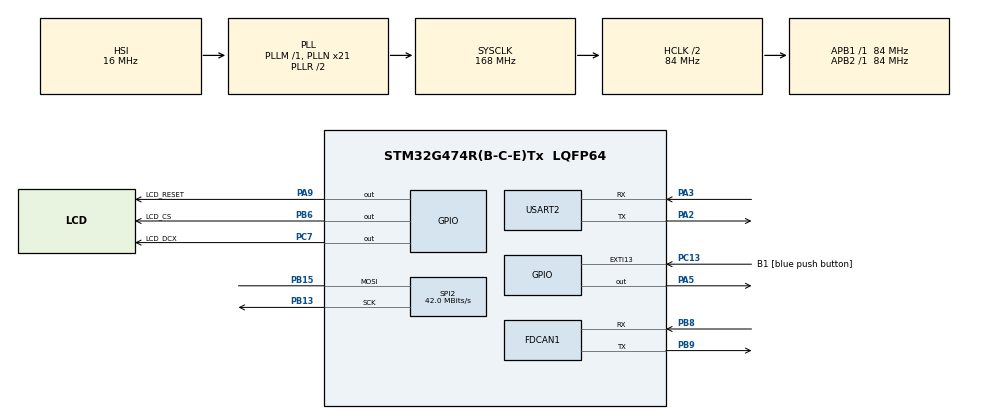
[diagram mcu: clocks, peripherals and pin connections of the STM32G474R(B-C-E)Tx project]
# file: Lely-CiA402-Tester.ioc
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Dma.Request0=USART2_RX
Dma.USART2_RX.0.Direction=DMA_PERIPH_TO_MEMORY
Dma.USART2_RX.0.EventEnable=DISABLE
Dma.USART2_RX.0.Instance=DMA1_Channel1
Dma.USART2_RX.0.MemDataAlignment=DMA_MDATAALIGN_BYTE
Dma.USART2_RX.0.MemInc=DMA_MINC_ENABLE
Dma.USART2_RX.0.Mode=DMA_CIRCULAR
Dma.USART2_RX.0.PeriphDataAlignment=DMA_PDATAALIGN_BYTE
Dma.USART2_RX.0.PeriphInc=DMA_PINC_DISABLE
Dma.USART2_RX.0.Polarity=HAL_DMAMUX_REQ_GEN_RISING
Dma.USART2_RX.0.Priority=DMA_PRIORITY_LOW
Dma.USART2_RX.0.RequestNumber=1
Dma.USART2_RX.0.SignalID=NONE
Dma.USART2_RX.0.SyncEnable=DISABLE
Dma.USART2_RX.0.SyncPolarity=HAL_DMAMUX_SYNC_NO_EVENT
Dma.USART2_RX.0.SyncRequestNumber=1
Dma.USART2_RX.0.SyncSignalID=NONE
FDCAN1.CalculateBaudRateNominal=125000
FDCAN1.CalculateTimeBitNominal=8000
FDCAN1.CalculateTimeQuantumNominal=1000.0
FDCAN1.Mode=FDCAN_MODE_EXTERNAL_LOOPBACK
FDCAN1.NominalPrescaler=84
FDCAN1.NominalTimeSeg1=4
FDCAN1.NominalTimeSeg2=3
Mcu.Family=STM32G4
Mcu.Name=STM32G474R(B-C-E)Tx
Mcu.Package=LQFP64
NUCLEO-G474RE.LD2=false
NVIC.DMA1_Channel1_IRQn=true\:0\:0\:false\:false\:true\:false\:true\:true
NVIC.EXTI15_10_IRQn=true\:0\:0\:false\:false\:true\:true\:true\:true
NVIC.FDCAN1_IT0_IRQn=true\:0\:0\:false\:false\:true\:true\:true\:true
NVIC.FDCAN1_IT1_IRQn=true\:0\:0\:false\:false\:true\:true\:true\:true
NVIC.PriorityGroup=NVIC_PRIORITYGROUP_4
NVIC.TIM1_TRG_COM_TIM17_IRQn=true\:0\:0\:false\:false\:true\:true\:true\:true
NVIC.TIM1_UP_TIM16_IRQn=true\:15\:0\:false\:false\:true\:false\:true\:true
NVIC.TIM2_IRQn=true\:0\:0\:false\:false\:true\:true\:true\:true
NVIC.TimeBase=TIM1_UP_TIM16_IRQn
NVIC.TimeBaseIP=TIM16
NVIC.USART2_IRQn=true\:0\:0\:false\:false\:true\:true\:true\:true
PA13.GPIO_Label=T_SWDIO
PA13.Signal=SYS_JTMS-SWDIO
PA14.GPIO_Label=T_SWCLK
PA14.Signal=SYS_JTCK-SWCLK
PA2.Mode=Asynchronous
PA2.Signal=USART2_TX
PA3.Mode=Asynchronous
PA3.Signal=USART2_RX
PA5.Signal=GPIO_Output
PA9.GPIO_Label=LCD_RESET
PA9.GPIO_ModeDefaultOutputPP=GPIO_MODE_OUTPUT_OD
PA9.GPIO_PuPd=GPIO_PULLUP
PA9.GPIO_Speed=GPIO_SPEED_FREQ_VERY_HIGH
PA9.PinState=GPIO_PIN_SET
PA9.Signal=GPIO_Output
PB13.Mode=Simplex_Bidirectional_Master
PB13.Signal=SPI2_SCK
PB15.Mode=Simplex_Bidirectional_Master
PB15.Signal=SPI2_MOSI
PB3.GPIO_Label=T_SWO
PB3.Signal=SYS_JTDO-SWO
PB6.GPIO_Label=LCD_CS
PB6.Signal=GPIO_Output
PB8-BOOT0.Mode=FDCAN_Activate
PB8-BOOT0.Signal=FDCAN1_RX
PB9.Mode=FDCAN_Activate
PB9.Signal=FDCAN1_TX
PC13.GPIO_Label=B1 [blue push button]
PC13.Signal=GPXTI13
PC14-OSC32_IN.GPIO_Label=RCC_OSC32_IN
PC14-OSC32_IN.Signal=RCC_OSC32_IN
PC15-OSC32_OUT.GPIO_Label=RCC_OSC32_OUT
PC15-OSC32_OUT.Signal=RCC_OSC32_OUT
PC7.GPIO_Label=LCD_DCX
PC7.GPIO_Speed=GPIO_SPEED_FREQ_VERY_HIGH
PC7.PinState=GPIO_PIN_SET
PC7.Signal=GPIO_Output
PF0-OSC_IN.GPIO_Label=RCC_OSC_IN
PF0-OSC_IN.Signal=RCC_OSC_IN
PF1-OSC_OUT.GPIO_Label=RCC_OSC_OUT
PF1-OSC_OUT.Signal=RCC_OSC_OUT
ProjectManager.HeapSize=0x200
ProjectManager.StackSize=0x400
ProjectManager.TargetToolchain=STM32CubeIDE
RCC.ADC12Freq_Value=168000000
RCC.ADC345Freq_Value=168000000
RCC.AHBCLKDivider=RCC_SYSCLK_DIV2
RCC.AHBFreq_Value=84000000
RCC.APB1Freq_Value=84000000
RCC.APB1TimFreq_Value=84000000
RCC.APB2Freq_Value=84000000
RCC.APB2TimFreq_Value=84000000
RCC.CortexFreq_Value=84000000
RCC.EXTERNAL_CLOCK_VALUE=12288000
RCC.HCLKFreq_Value=84000000
RCC.HSE_VALUE=24000000
RCC.HSI48_VALUE=48000000
RCC.HSI_VALUE=16000000
RCC.LSE_VALUE=32768
RCC.PLLN=21
RCC.SYSCLKFreq_VALUE=168000000
RCC.SYSCLKSource=RCC_SYSCLKSOURCE_PLLCLK
RCC.USBFreq_Value=168000000
RCC.VCOOutputFreq_Value=336000000
SPI2.CalculateBaudRate=42.0 MBits/s
SPI2.Direction=SPI_DIRECTION_1LINE
SPI2.Mode=SPI_MODE_MASTER
SPI2.VirtualType=VM_MASTER
TIM17.PeriodNoDither=1000
TIM17.Prescaler=84
TIM2.Channel-Output\ Compare1\ No\ Output=TIM_CHANNEL_1
TIM2.OCMode_1=TIM_OCMODE_ACTIVE
TIM2.PeriodNoDither=1000
TIM2.Prescaler=84
TIM2.PulseNoDither_1=500000
USART2.VirtualMode-Asynchronous=VM_ASYNC
VP_NUCLEO-G474RE_VS_BSP_COMMON.Mode=COMMON
VP_RTC_VS_RTC_Activate.Mode=RTC_Enabled
VP_RTC_VS_RTC_Calendar.Mode=RTC_Calendar
VP_SYS_VS_DBSignals.Mode=DisableDeadBatterySignals
VP_SYS_VS_tim16.Mode=TIM16
VP_TIM17_VS_ClockSourceINT.Mode=Enable_Timer
VP_TIM2_VS_ClockSourceINT.Mode=Internal
VP_TIM2_VS_no_output1.Mode=Output Compare1 No Output
board=NUCLEO-G474RE

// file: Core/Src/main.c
/* USER CODE BEGIN Header */
/**
  ******************************************************************************
  * @file           : main.c
  * @brief          : Main program body
  ******************************************************************************
  * @attention
  *
  * Copyright (c) 2025 STMicroelectronics.
  * All rights reserved.
  *
  * This software is licensed under terms that can be found in the LICENSE file
  * in the root directory of this software component.
  * If no LICENSE file comes with this software, it is provided AS-IS.
  *
  ******************************************************************************
  */
/* USER CODE END Header */
#include "main.h"

/* USER CODE BEGIN Includes */
#include "../screen/screen.h"
// #define LELY_NO_THREADS 1
#include <stdlib.h>
#include <lely/co/nmt.h>
#include <lely/co/sdev.h>
#include <lely/co/sdo.h>
#include <lely/co/time.h>
#include <lely/co/tpdo.h>

#include "co/co.h"
#include "../bsp/can.h"
#include "digital_inputs.h"
#include "statemachine.h"
/* USER CODE END Includes */

FDCAN_HandleTypeDef hfdcan1;

RTC_HandleTypeDef hrtc;

SPI_HandleTypeDef hspi2;

TIM_HandleTypeDef htim2;
TIM_HandleTypeDef htim17;

UART_HandleTypeDef huart2;
DMA_HandleTypeDef hdma_usart2_rx;

/* USER CODE BEGIN PV */
//osThreadId LvglTaskHandle;
//lv_display_t *lcd_disp;
//volatile int lcd_bus_busy = 0;
/* USER CODE END PV */

void SystemClock_Config(void);
static void MX_GPIO_Init(void);
static void MX_DMA_Init(void);
static void MX_FDCAN1_Init(void);
static void MX_TIM17_Init(void);
static void MX_USART2_UART_Init(void);
static void MX_RTC_Init(void);
static void MX_TIM2_Init(void);
static void MX_SPI2_Init(void);
/* USER CODE BEGIN PFP */
static int on_can_send(const struct can_msg *msg, void *data);
static void on_nmt_cs(co_nmt_t *nmt, co_unsigned8_t cs, void *data);
static void on_time(co_time_t *time, const struct timespec *tp, void *data);
static co_unsigned32_t on_dn_2000_00(co_sub_t *sub, struct co_sdo_req *req,
		void *data);
static co_unsigned32_t on_up_2001_00(const co_sub_t *sub,
		struct co_sdo_req *req, void *data);

// dn : master to slave
// up : slave to master

// Generated by `dcf2c --no-strings lpc17xx.dcf lpc17xx_sdev -o src/sdev.c`
extern const struct co_sdev lpc17xx_sdev;

uint32_t co_hal_read_digital_inputs(){
	  digital_inputs io;
	  io.positive_limit_switch=HAL_GPIO_ReadPin(B1_GPIO_Port, B1_Pin);
	  uint32_t entry_60FD_00=read_inputs(io);
	  return entry_60FD_00;
}
/* USER CODE END PFP */

/* USER CODE BEGIN 0 */
int ticks = 0,ticks_ms=0,ticks_second=0,ticks_minute=0,ticks_hour=0;

struct hw_time clock_get_hw_time()
{
struct hw_time tm;
tm.ticks_hour = ticks_hour;
tm.ticks_minute =ticks_minute;
tm.ticks_second = ticks_second;
tm.ticks_ms = ticks_ms;
tm.ticks_ns = ticks_ms * 1000* 1000;
return tm;
}
struct timespec now = { 0, 0 };
co_dev_t *dev;
co_nmt_t *nmt;
can_net_t *net;

/* USER CODE END 0 */

int main(void)
{

  /* MCU Configuration--------------------------------------------------------*/

  /* Reset of all peripherals, Initializes the Flash interface and the Systick. */
  HAL_Init();

  /* Configure the system clock */
  SystemClock_Config();

  /* Initialize all configured peripherals */
  MX_GPIO_Init();
  MX_DMA_Init();
  MX_FDCAN1_Init();
  MX_TIM17_Init();
  MX_USART2_UART_Init();
  MX_RTC_Init();
  MX_TIM2_Init();
  MX_SPI2_Init();
  /* USER CODE BEGIN 2 */
  	can_init(125);;
  	trace("Welcome to Lely-CiA-402-Tester!");
	 /* Start RTC, otherwise CANOpen won't generate Data */
	// Initialize the CAN network interface.
	net = can_net_create();
	assert(net);
	can_net_set_send_func(net, &on_can_send, NULL);

	// Initialize the CAN network clock. We use the monotonic clock, since
	// its reference will not be changed by clock_settime().
	clock_gettime(1, &now);
	can_net_set_time(net, &now);

	// Create a dynamic object dictionary from the static object dictionary.
	dev = co_dev_create_from_sdev(&lpc17xx_sdev);
	assert(dev);

	// Create the CANopen NMT service.
	nmt = co_nmt_create(net, dev);
	assert(nmt);

	// Start the NMT service by resetting the node.
	co_nmt_cs_ind(nmt, CO_NMT_CS_RESET_NODE);

	// Set the NMT indication function _after_ the initial reset; otherwise
	// we create a reset loop.
	co_nmt_set_cs_ind(nmt, &on_nmt_cs, NULL);

	// Set the TIME indication function. This can only be done when the TIME
	// service is active.
	co_time_set_ind(co_nmt_get_time(nmt), &on_time, NULL);

	// Set the download (SDO write) indication function for sub-object
	// 2000:01.
	co_sub_set_dn_ind(co_dev_find_sub(dev, 0x2000, 0x00), &on_dn_2000_00,NULL);

	// Set the upload (SDO read) indication function for sub-object 2001:01.
	co_sub_set_up_ind(co_dev_find_sub(dev,0x2001,0x00), &on_up_2001_00,NULL);
//	co_sub_set_up_ind(co_dev_find_sub(dev,0x60FD,0x00),&on_up_60FD_00,NULL);
/*
	screen_init();
	for(int i=0;i<20;i++)
	{
	screen_csp(10,i);
	HAL_Delay(10);
	}
*/
//	co_tpdo_start(co_tpdo_create(net, dev, 1));
	Start_STDIN();
//	HAL_TIM_Base_Start_IT(&htim2);
//	HAL_TIM_OC_Start(&htim2, 1);
	trace("Press PB1 to continue to start CanOpen loop");
	trace("Sending dummy data [7F 12 34");
	while(!HAL_GPIO_ReadPin(B1_GPIO_Port, B1_Pin))
	{
		struct can_msg msg;
		msg.len=2;
		msg.data[1]=0x12;
		msg.data[2]=0x34;
		can_send(&msg, 3);
		HAL_Delay(500);
		// Disable Interrupt an poll can rx buffer
	}

//	can_send(&msg, 1);
  /* USER CODE END 2 */

  /* Infinite loop */
  /* USER CODE BEGIN WHILE */
  while (1)
  {
//BSP_LED_Toggle(LED_GREEN);
//HAL_Delay(500);
	  co_unsigned32_t val = co_hal_read_digital_inputs();
//		co_sub_set_val_u32(co_dev_find_sub(dev, 0x60FD, 0),&val);
		// Controlword
		co_obj_t * obj = co_dev_find_obj(dev, 0x6040);
		uint32_t ctrl_word=co_sub_get_val_u32(co_dev_find_sub(dev,0x6040,0));
		// Statusword
		run_transition(ctrl_word);
		uint16_t statusword=get_statusword_lowbyte(get_state());
		obj = co_dev_find_obj(dev, 0x6041);
		co_obj_set_val(obj, 0x00,&statusword, sizeof(val));
		co_nmt_cs_ind(nmt, CO_NMT_ST_START); // Operational
	  /*
	  if(HAL_GPIO_ReadPin(B1_GPIO_Port, B1_Pin)== GPIO_PIN_SET)
	  {
		  select_screen();
	  }
*/
	  //co_sub_dn(inputs, co_hal_read_digital_inputs());
		clock_gettime(1, &now);

	    // Aktuelle Zeit holen
	    localtime(&now.tv_sec);

	    RTC_DateTypeDef gDate;
	    RTC_TimeTypeDef gTime;
	    HAL_RTC_GetTime(&hrtc, &gTime, RTC_FORMAT_BIN);
	    HAL_RTC_GetDate(&hrtc, &gDate, RTC_FORMAT_BIN);
	    //trace("%02d:%02d:%02d",gTime.Hours, gTime.Minutes, gTime.Seconds);

		can_net_set_time(net, &now);

		// Process any received CAN frames.
		struct can_msg msg;
		int n_frames = can_recv(&msg, 1);
		if(n_frames !=0)
		{
				can_net_recv(net, &msg);
		}
//		HAL_GPIO_TogglePin(GPIOA, GPIO_PIN_11);
//		HAL_Delay(250);
		// TODO: Update object dictionary.

    /* USER CODE END WHILE */

    /* USER CODE BEGIN 3 */
  }
	co_nmt_destroy(nmt);
	co_dev_destroy(dev);
	can_net_destroy(net);
  /* USER CODE END 3 */
}

void SystemClock_Config(void)
{
  RCC_OscInitTypeDef RCC_OscInitStruct = {0};
  RCC_ClkInitTypeDef RCC_ClkInitStruct = {0};

  /** Configure the main internal regulator output voltage
  */
  HAL_PWREx_ControlVoltageScaling(PWR_REGULATOR_VOLTAGE_SCALE1);

  /** Initializes the RCC Oscillators according to the specified parameters
  * in the RCC_OscInitTypeDef structure.
  */
  RCC_OscInitStruct.OscillatorType = RCC_OSCILLATORTYPE_HSI|RCC_OSCILLATORTYPE_LSI;
  RCC_OscInitStruct.HSIState = RCC_HSI_ON;
  RCC_OscInitStruct.HSICalibrationValue = RCC_HSICALIBRATION_DEFAULT;
  RCC_OscInitStruct.LSIState = RCC_LSI_ON;
  RCC_OscInitStruct.PLL.PLLState = RCC_PLL_ON;
  RCC_OscInitStruct.PLL.PLLSource = RCC_PLLSOURCE_HSI;
  RCC_OscInitStruct.PLL.PLLM = RCC_PLLM_DIV1;
  RCC_OscInitStruct.PLL.PLLN = 21;
  RCC_OscInitStruct.PLL.PLLP = RCC_PLLP_DIV2;
  RCC_OscInitStruct.PLL.PLLQ = RCC_PLLQ_DIV2;
  RCC_OscInitStruct.PLL.PLLR = RCC_PLLR_DIV2;
  if (HAL_RCC_OscConfig(&RCC_OscInitStruct) != HAL_OK)
  {
    Error_Handler();
  }

  /** Initializes the CPU, AHB and APB buses clocks
  */
  RCC_ClkInitStruct.ClockType = RCC_CLOCKTYPE_HCLK|RCC_CLOCKTYPE_SYSCLK
                              |RCC_CLOCKTYPE_PCLK1|RCC_CLOCKTYPE_PCLK2;
  RCC_ClkInitStruct.SYSCLKSource = RCC_SYSCLKSOURCE_PLLCLK;
  RCC_ClkInitStruct.AHBCLKDivider = RCC_SYSCLK_DIV2;
  RCC_ClkInitStruct.APB1CLKDivider = RCC_HCLK_DIV1;
  RCC_ClkInitStruct.APB2CLKDivider = RCC_HCLK_DIV1;

  if (HAL_RCC_ClockConfig(&RCC_ClkInitStruct, FLASH_LATENCY_2) != HAL_OK)
  {
    Error_Handler();
  }
}

static void MX_FDCAN1_Init(void)
{

  hfdcan1.Instance = FDCAN1;
  hfdcan1.Init.ClockDivider = FDCAN_CLOCK_DIV1;
  hfdcan1.Init.FrameFormat = FDCAN_FRAME_CLASSIC;
  hfdcan1.Init.Mode = FDCAN_FRAME_CLASSIC;
  hfdcan1.Init.AutoRetransmission = DISABLE;
  hfdcan1.Init.TransmitPause = DISABLE;
  hfdcan1.Init.ProtocolException = DISABLE;
  hfdcan1.Init.NominalPrescaler = 84;
  hfdcan1.Init.NominalSyncJumpWidth = 1;
  hfdcan1.Init.NominalTimeSeg1 = 4;
  hfdcan1.Init.NominalTimeSeg2 = 3;
  hfdcan1.Init.DataPrescaler = 1;
  hfdcan1.Init.DataSyncJumpWidth = 1;
  hfdcan1.Init.DataTimeSeg1 = 1;
  hfdcan1.Init.DataTimeSeg2 = 1;
  hfdcan1.Init.StdFiltersNbr = 0;
  hfdcan1.Init.ExtFiltersNbr = 0;
  hfdcan1.Init.TxFifoQueueMode = FDCAN_TX_FIFO_OPERATION;
  if (HAL_FDCAN_Init(&hfdcan1) != HAL_OK)
  {
    Error_Handler();
  }

}

static void MX_RTC_Init(void)
{

  RTC_TimeTypeDef sTime = {0};
  RTC_DateTypeDef sDate = {0};

  /** Initialize RTC Only
  */
  hrtc.Instance = RTC;
  hrtc.Init.HourFormat = RTC_HOURFORMAT_24;
  hrtc.Init.AsynchPrediv = 127;
  hrtc.Init.SynchPrediv = 255;
  hrtc.Init.OutPut = RTC_OUTPUT_DISABLE;
  hrtc.Init.OutPutRemap = RTC_OUTPUT_REMAP_NONE;
  hrtc.Init.OutPutPolarity = RTC_OUTPUT_POLARITY_HIGH;
  hrtc.Init.OutPutType = RTC_OUTPUT_TYPE_OPENDRAIN;
  hrtc.Init.OutPutPullUp = RTC_OUTPUT_PULLUP_NONE;
  if (HAL_RTC_Init(&hrtc) != HAL_OK)
  {
    Error_Handler();
  }

  /** Initialize RTC and set the Time and Date
  */
  sTime.Hours = 0x0;
  sTime.Minutes = 0x0;
  sTime.Seconds = 0x0;
  sTime.SubSeconds = 0x0;
  sTime.DayLightSaving = RTC_DAYLIGHTSAVING_NONE;
  sTime.StoreOperation = RTC_STOREOPERATION_RESET;
  if (HAL_RTC_SetTime(&hrtc, &sTime, RTC_FORMAT_BCD) != HAL_OK)
  {
    Error_Handler();
  }
  sDate.WeekDay = RTC_WEEKDAY_MONDAY;
  sDate.Month = RTC_MONTH_JANUARY;
  sDate.Date = 0x1;
  sDate.Year = 0x0;

  if (HAL_RTC_SetDate(&hrtc, &sDate, RTC_FORMAT_BCD) != HAL_OK)
  {
    Error_Handler();
  }

}

static void MX_SPI2_Init(void)
{

  /* SPI2 parameter configuration*/
  hspi2.Instance = SPI2;
  hspi2.Init.Mode = SPI_MODE_MASTER;
  hspi2.Init.Direction = SPI_DIRECTION_1LINE;
  hspi2.Init.DataSize = SPI_DATASIZE_4BIT;
  hspi2.Init.CLKPolarity = SPI_POLARITY_LOW;
  hspi2.Init.CLKPhase = SPI_PHASE_1EDGE;
  hspi2.Init.NSS = SPI_NSS_SOFT;
  hspi2.Init.BaudRatePrescaler = SPI_BAUDRATEPRESCALER_2;
  hspi2.Init.FirstBit = SPI_FIRSTBIT_MSB;
  hspi2.Init.TIMode = SPI_TIMODE_DISABLE;
  hspi2.Init.CRCCalculation = SPI_CRCCALCULATION_DISABLE;
  hspi2.Init.CRCPolynomial = 7;
  hspi2.Init.CRCLength = SPI_CRC_LENGTH_DATASIZE;
  hspi2.Init.NSSPMode = SPI_NSS_PULSE_ENABLE;
  if (HAL_SPI_Init(&hspi2) != HAL_OK)
  {
    Error_Handler();
  }

}

static void MX_TIM2_Init(void)
{

  TIM_ClockConfigTypeDef sClockSourceConfig = {0};
  TIM_MasterConfigTypeDef sMasterConfig = {0};
  TIM_OC_InitTypeDef sConfigOC = {0};

  htim2.Instance = TIM2;
  htim2.Init.Prescaler = 84;
  htim2.Init.CounterMode = TIM_COUNTERMODE_UP;
  htim2.Init.Period = 1000;
  htim2.Init.ClockDivision = TIM_CLOCKDIVISION_DIV1;
  htim2.Init.AutoReloadPreload = TIM_AUTORELOAD_PRELOAD_DISABLE;
  if (HAL_TIM_Base_Init(&htim2) != HAL_OK)
  {
    Error_Handler();
  }
  sClockSourceConfig.ClockSource = TIM_CLOCKSOURCE_INTERNAL;
  if (HAL_TIM_ConfigClockSource(&htim2, &sClockSourceConfig) != HAL_OK)
  {
    Error_Handler();
  }
  if (HAL_TIM_OC_Init(&htim2) != HAL_OK)
  {
    Error_Handler();
  }
  sMasterConfig.MasterOutputTrigger = TIM_TRGO_RESET;
  sMasterConfig.MasterSlaveMode = TIM_MASTERSLAVEMODE_DISABLE;
  if (HAL_TIMEx_MasterConfigSynchronization(&htim2, &sMasterConfig) != HAL_OK)
  {
    Error_Handler();
  }
  sConfigOC.OCMode = TIM_OCMODE_ACTIVE;
  sConfigOC.Pulse = 500000;
  sConfigOC.OCPolarity = TIM_OCPOLARITY_HIGH;
  sConfigOC.OCFastMode = TIM_OCFAST_DISABLE;
  if (HAL_TIM_OC_ConfigChannel(&htim2, &sConfigOC, TIM_CHANNEL_1) != HAL_OK)
  {
    Error_Handler();
  }

}

static void MX_TIM17_Init(void)
{

  htim17.Instance = TIM17;
  htim17.Init.Prescaler = 84;
  htim17.Init.CounterMode = TIM_COUNTERMODE_UP;
  htim17.Init.Period = 1000;
  htim17.Init.ClockDivision = TIM_CLOCKDIVISION_DIV1;
  htim17.Init.RepetitionCounter = 0;
  htim17.Init.AutoReloadPreload = TIM_AUTORELOAD_PRELOAD_DISABLE;
  if (HAL_TIM_Base_Init(&htim17) != HAL_OK)
  {
    Error_Handler();
  }

}

static void MX_USART2_UART_Init(void)
{

  huart2.Instance = USART2;
  huart2.Init.BaudRate = 115200;
  huart2.Init.WordLength = UART_WORDLENGTH_8B;
  huart2.Init.StopBits = UART_STOPBITS_1;
  huart2.Init.Parity = UART_PARITY_NONE;
  huart2.Init.Mode = UART_MODE_TX_RX;
  huart2.Init.HwFlowCtl = UART_HWCONTROL_NONE;
  huart2.Init.OverSampling = UART_OVERSAMPLING_16;
  huart2.Init.OneBitSampling = UART_ONE_BIT_SAMPLE_DISABLE;
  huart2.Init.ClockPrescaler = UART_PRESCALER_DIV1;
  huart2.AdvancedInit.AdvFeatureInit = UART_ADVFEATURE_NO_INIT;
  if (HAL_UART_Init(&huart2) != HAL_OK)
  {
    Error_Handler();
  }
  if (HAL_UARTEx_SetTxFifoThreshold(&huart2, UART_TXFIFO_THRESHOLD_1_8) != HAL_OK)
  {
    Error_Handler();
  }
  if (HAL_UARTEx_SetRxFifoThreshold(&huart2, UART_RXFIFO_THRESHOLD_1_8) != HAL_OK)
  {
    Error_Handler();
  }
  if (HAL_UARTEx_DisableFifoMode(&huart2) != HAL_OK)
  {
    Error_Handler();
  }

}

static void MX_DMA_Init(void)
{

  /* DMA controller clock enable */
  __HAL_RCC_DMAMUX1_CLK_ENABLE();
  __HAL_RCC_DMA1_CLK_ENABLE();

  /* DMA interrupt init */
  /* DMA1_Channel1_IRQn interrupt configuration */
  HAL_NVIC_SetPriority(DMA1_Channel1_IRQn, 0, 0);
  HAL_NVIC_EnableIRQ(DMA1_Channel1_IRQn);

}

static void MX_GPIO_Init(void)
{
  GPIO_InitTypeDef GPIO_InitStruct = {0};

  /* GPIO Ports Clock Enable */
  __HAL_RCC_GPIOC_CLK_ENABLE();
  __HAL_RCC_GPIOF_CLK_ENABLE();
  __HAL_RCC_GPIOA_CLK_ENABLE();
  __HAL_RCC_GPIOB_CLK_ENABLE();

  /*Configure GPIO pin Output Level */
  HAL_GPIO_WritePin(GPIOA, GPIO_PIN_5, GPIO_PIN_RESET);

  /*Configure GPIO pin Output Level */
  HAL_GPIO_WritePin(LCD_DCX_GPIO_Port, LCD_DCX_Pin, GPIO_PIN_SET);

  /*Configure GPIO pin Output Level */
  HAL_GPIO_WritePin(LCD_RESET_GPIO_Port, LCD_RESET_Pin, GPIO_PIN_SET);

  /*Configure GPIO pin Output Level */
  HAL_GPIO_WritePin(LCD_CS_GPIO_Port, LCD_CS_Pin, GPIO_PIN_RESET);

  /*Configure GPIO pin : B1_Pin */
  GPIO_InitStruct.Pin = B1_Pin;
  GPIO_InitStruct.Mode = GPIO_MODE_IT_RISING;
  GPIO_InitStruct.Pull = GPIO_NOPULL;
  HAL_GPIO_Init(B1_GPIO_Port, &GPIO_InitStruct);

  /*Configure GPIO pin : PA5 */
  GPIO_InitStruct.Pin = GPIO_PIN_5;
  GPIO_InitStruct.Mode = GPIO_MODE_OUTPUT_PP;
  GPIO_InitStruct.Pull = GPIO_NOPULL;
  GPIO_InitStruct.Speed = GPIO_SPEED_FREQ_LOW;
  HAL_GPIO_Init(GPIOA, &GPIO_InitStruct);

  /*Configure GPIO pin : LCD_DCX_Pin */
  GPIO_InitStruct.Pin = LCD_DCX_Pin;
  GPIO_InitStruct.Mode = GPIO_MODE_OUTPUT_PP;
  GPIO_InitStruct.Pull = GPIO_NOPULL;
  GPIO_InitStruct.Speed = GPIO_SPEED_FREQ_VERY_HIGH;
  HAL_GPIO_Init(LCD_DCX_GPIO_Port, &GPIO_InitStruct);

  /*Configure GPIO pin : LCD_RESET_Pin */
  GPIO_InitStruct.Pin = LCD_RESET_Pin;
  GPIO_InitStruct.Mode = GPIO_MODE_OUTPUT_OD;
  GPIO_InitStruct.Pull = GPIO_PULLUP;
  GPIO_InitStruct.Speed = GPIO_SPEED_FREQ_VERY_HIGH;
  HAL_GPIO_Init(LCD_RESET_GPIO_Port, &GPIO_InitStruct);

  /*Configure GPIO pin : LCD_CS_Pin */
  GPIO_InitStruct.Pin = LCD_CS_Pin;
  GPIO_InitStruct.Mode = GPIO_MODE_OUTPUT_PP;
  GPIO_InitStruct.Pull = GPIO_NOPULL;
  GPIO_InitStruct.Speed = GPIO_SPEED_FREQ_LOW;
  HAL_GPIO_Init(LCD_CS_GPIO_Port, &GPIO_InitStruct);

  /* EXTI interrupt init*/
  HAL_NVIC_SetPriority(EXTI15_10_IRQn, 0, 0);
  HAL_NVIC_EnableIRQ(EXTI15_10_IRQn);

}

/* USER CODE BEGIN 4 */
/*
HAL_GPIO_EXTI_Callback(uint16_t GPIO_Pin)
{
//	select_screen();
}
*/
static int on_can_send(const struct can_msg *msg, void *data)
{
	(void)data;
	return can_send(msg, 1) == 1 ? 0 : -1;
}

static void
on_nmt_cs(co_nmt_t *nmt, co_unsigned8_t cs, void *data)
{
	(void)data;

	switch (cs) {
	case CO_NMT_CS_START:
		// Reset the TIME indication function, since the service may
		// have been restarted.
		co_time_set_ind(co_nmt_get_time(nmt), &on_time, NULL);
		break;
	case CO_NMT_CS_STOP:
		break;
	case CO_NMT_CS_ENTER_PREOP:
		co_time_set_ind(co_nmt_get_time(nmt), &on_time, NULL);
		break;
	case CO_NMT_CS_RESET_NODE:
		// Initiate a system reset.
		exit(0);
		break;
	case CO_NMT_CS_RESET_COMM:
		break;
	}
}

static void
on_time(co_time_t *time, const struct timespec *tp, void *data)
{
	(void)time;
	(void)data;

	// Update the wall clock, _not_ the monotonic clock used by the CAN
	// network.
	clock_settime(CLOCK_REALTIME, tp);
}

static co_unsigned32_t
on_dn_2000_00(co_sub_t *sub, struct co_sdo_req *req, void *data)
{
	assert(sub);
	assert(co_obj_get_idx(co_sub_get_obj(sub)) == 0x2000);
	assert(co_sub_get_subidx(sub) == 0x00);
	assert(req);
	// The data pointer can be used to pass user-specified data to the
	// callback function. It is the last argument passed to
	// co_sub_set_dn_ind().
	(void)data;

	co_unsigned32_t ac = 0;

	co_unsigned16_t type = co_sub_get_type(sub);//dd
	assert(type == CO_DEFTYPE_UNSIGNED32);

	// This callback is invoked for every SDO CAN frame. Unless the value is
	// too large to be held in memory (for example, during a firmware
	// update), it is more convenient to wait until the entire value is
	// received. This is what the following call is designed to do. It
	// returns -1 with ac == 0 if more CAN frames are pending.
	union co_val val;
	if (co_sdo_req_dn_val(req, type, &val, &ac) == -1)
		return ac;

	trace("Received SDO 0x2000:0 : val.u32=[%lu]",val.u32);
	// Write the temporary value to the local object dictionary.
	co_sub_dn(sub, &val);

	run_transition(val.u32);
	trace("Drive state = %d, Statusword = %X",get_state(),get_statusword_lowbyte(get_state()));
	// Finalize the temporary value. This is only necessary to cleanup array
	// values, but it is a good practice to always include it.
	co_val_fini(type, &val);
	return ac;
}
/*
static co_unsigned32_t
on_up_2001_00(const co_sub_t *sub, struct co_sdo_req *req, void *data)
{
	assert(co_obj_get_idx(co_sub_get_obj(sub)) == 0x2001);
	assert(co_sub_get_subidx(sub) == 0x00);
	assert(req);
	(void)data;

	co_unsigned16_t type = co_sub_get_type(sub);
	assert(type == CO_DEFTYPE_UNSIGNED32);

	// TODO: Obtain value from somewhere.
	co_unsigned32_t val = 42;

	// Store the value in the send buffer.
	co_unsigned32_t ac = 0;
	co_sdo_req_up_val(req, type, &val, &ac);
	return ac;
}
*/
static co_unsigned32_t
on_up_2001_00(const co_sub_t *sub, struct co_sdo_req *req, void *data)
{
	assert(req);
	(void)data;

	co_unsigned16_t type = co_sub_get_type(sub);

	// TODO: Obtain value from somewhere.
	co_unsigned32_t val = co_hal_read_digital_inputs();

	// Store the value in the send buffer.
	co_unsigned32_t ac = 0;
	co_sdo_req_up_val(req, type, &val, &ac);
	return ac;
}

/* USER CODE END 4 */

void HAL_TIM_PeriodElapsedCallback(TIM_HandleTypeDef *htim)
{
  /* USER CODE BEGIN Callback 0 */
	 if (htim->Instance == TIM2) {
	    HAL_GPIO_TogglePin(GPIOA, GPIO_PIN_5);
	  }
  /* USER CODE END Callback 0 */
  if (htim->Instance == TIM16) {
    HAL_IncTick();
  }
}

void Error_Handler(void)
{
  __disable_irq();
  while (1)
  {
  }
}
